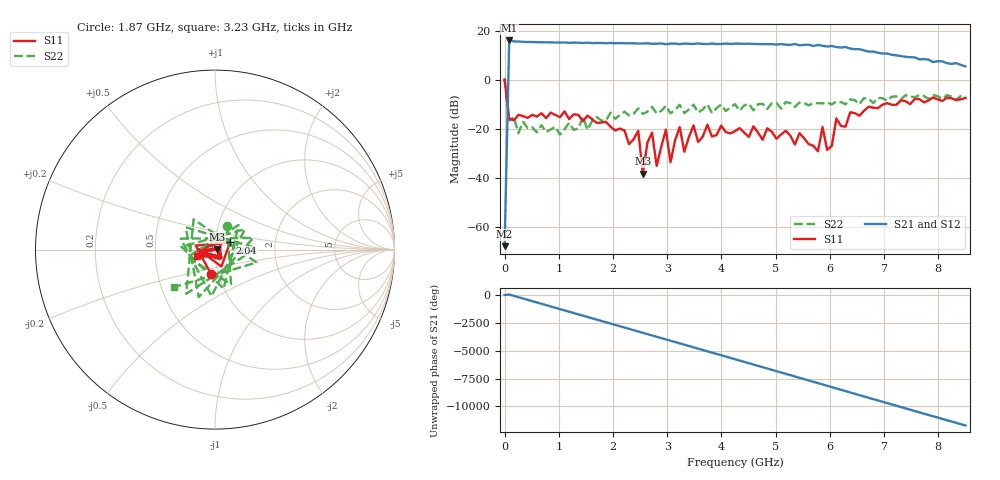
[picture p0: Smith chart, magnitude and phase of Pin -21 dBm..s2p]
! RsaToolbox (C) 2013 Rohde & Schwarz America
! Number of points: 101
! Number of ports: 2
! Balanced ports?: 0
# Hz S RI R 50
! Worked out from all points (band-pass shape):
!   101 points, 9 kHz to 8.5 GHz, reference 50 ohm
!   highest |S21| = 16.10 dB at 85.01 MHz (marker M1); lowest = -68.0 dB at 9 kHz (marker M2)
!   |S21| within 3 dB of the highest: 81.98 MHz to 6.332 GHz (6.25 GHz wide, 195 % of centre)
!   lowest |S11| = -38.4 dB at 2.55 GHz (marker M3), VSWR 1.02, Z = 51.2 + j0.203 ohm
!   |S11| at or under -10 dB: 53.62 MHz to 6.991 GHz (6.938 GHz wide, 197 % of centre); 7.117 GHz to 7.237 GHz (119.7 MHz wide, 1.67 % of centre)
!   |S22| runs from -22.4 to 0.2 dB; largest |S21 - S12| = 0
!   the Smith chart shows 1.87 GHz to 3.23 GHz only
!   S11 on the Smith chart (normalised r, x): 1.87 GHz: 0.92, -0.26; 2.04 GHz: 1.18, +0.10; 3.23 GHz: 0.81, -0.06
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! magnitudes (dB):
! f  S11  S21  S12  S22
! 9 kHz  0.1  -68.0  -68.0  0.2
! 85.01 MHz  -15.9  16.1  16.1  -16.6
! 1.02 GHz  -15.3  15.2  15.2  -22.4
! 1.445 GHz  -16.9  15.1  15.1  -15.3
! 1.87 GHz  -17.2  15.0  15.0  -16.6
! 2.04 GHz  -20.7  15.0  15.0  -15.9
! 2.465 GHz  -20.9  14.8  14.8  -11.7
! 2.55 GHz  -38.4  14.9  14.9  -14.0
! 2.72 GHz  -21.6  14.7  14.7  -11.1
! 2.805 GHz  -35.2  14.8  14.8  -13.8
! 2.89 GHz  -27.4  14.9  14.9  -12.7
! 2.975 GHz  -20.4  14.6  14.6  -10.6
! 3.06 GHz  -33.7  14.8  14.8  -13.7
! 3.23 GHz  -19.3  14.6  14.6  -10.2
! 3.315 GHz  -29.4  14.8  14.8  -13.6
! 3.485 GHz  -18.6  14.7  14.7  -10.2
! 3.57 GHz  -25.4  14.9  14.9  -13.4
! 4.25 GHz  -21.0  14.8  14.8  -10.0
! 5.695 GHz  -26.9  13.8  13.8  -9.5
! 6.12 GHz  -15.7  13.4  13.4  -8.8
! 7.14 GHz  -10.2  10.3  10.3  -6.9
! 8.5 GHz  -7.4  5.5  5.5  -6.8
